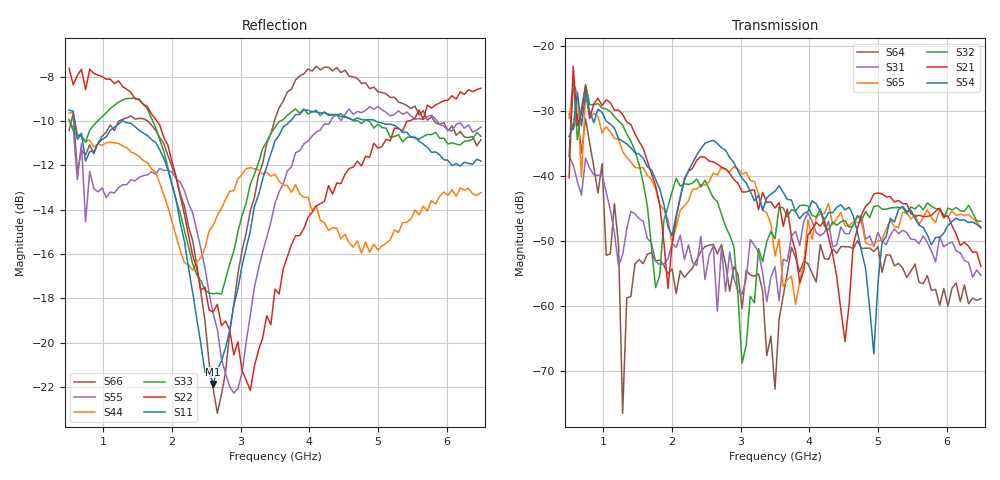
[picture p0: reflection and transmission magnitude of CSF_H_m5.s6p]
!Keysight Technologies,M9804A,MY58100912,A.14.10.03
!Date: Thursday, April 27, 2023 10:28:33
!Correction: S11(C  6-Port  )
!S12(C  6-Port  )
!S13(C  6-Port  )
!S14(C  6-Port  )
!S15(C  6-Port  )
!S16(C  6-Port  )
!S21(C  6-Port  )
!S22(C  6-Port  )
!S23(C  6-Port  )
!S24(C  6-Port  )
!S25(C  6-Port  )
!S26(C  6-Port  )
!S31(C  6-Port  )
!S32(C  6-Port  )
!S33(C  6-Port  )
!S34(C  6-Port  )
!S35(C  6-Port  )
!S36(C  6-Port  )
!S41(C  6-Port  )
!S42(C  6-Port  )
!S43(C  6-Port  )
!S44(C  6-Port  )
!S45(C  6-Port  )
!S46(C  6-Port  )
!S51(C  6-Port  )
!S52(C  6-Port  )
!S53(C  6-Port  )
!S54(C  6-Port  )
!S55(C  6-Port  )
!S56(C  6-Port  )
!S61(C  6-Port  )
!S62(C  6-Port  )
!S63(C  6-Port  )
!S64(C  6-Port  )
!S65(C  6-Port  )
!S66(C  6-Port  )
!S6P File: Measurement: :
# Hz S  RI  R 50
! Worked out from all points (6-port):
!   101 points, 500 MHz to 6.5 GHz, reference 50 ohm
!   strongest paths, dB at 500 MHz, 2 GHz, 3.5 GHz, 5 GHz, 6.5 GHz:
!     S54: -33.9, -49.1, -42.3, -56.4, -47.9
!     S21: -40.2, -50.5, -44.9, -42.5, -53.9
!     S32: -36.9, -42.4, -49.6, -44.5, -46.9
!     S65: -31.1, -50.4, -52.2, -50.0, -47.8
!     S31: -36.9, -50.3, -53.9, -48.6, -55.2
!     S64: -30.4, -54.2, -72.8, -50.8, -58.8
!   lowest |S11| = -21.9 dB at 2.6 GHz (marker M1), VSWR 1.18, Z = 42.8 + j1.94 ohm
!   |S11| at or under -10 dB: 581 MHz to 1.273 GHz (692.4 MHz wide, 74.7 % of centre); 1.29 GHz to 3.723 GHz (2.432 GHz wide, 97 % of centre); 4.969 GHz to end of sweep
